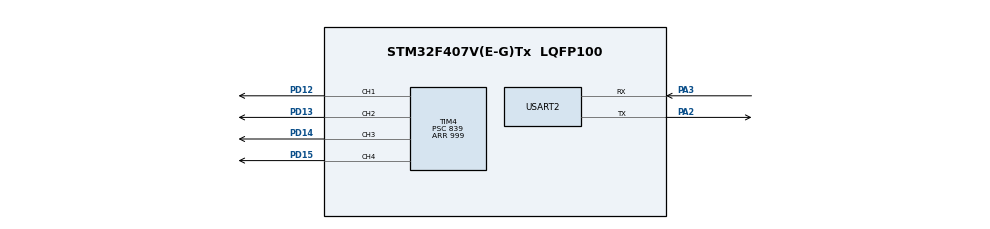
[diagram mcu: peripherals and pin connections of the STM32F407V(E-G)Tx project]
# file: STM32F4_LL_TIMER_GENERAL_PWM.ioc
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Mcu.Family=STM32F4
Mcu.Name=STM32F407V(E-G)Tx
Mcu.Package=LQFP100
NVIC.PriorityGroup=NVIC_PRIORITYGROUP_0
NVIC.TIM4_IRQn=true\:0\:0\:false\:false\:true\:true\:true\:true
PA13.Mode=Serial_Wire
PA13.Signal=SYS_JTMS-SWDIO
PA14.Mode=Serial_Wire
PA14.Signal=SYS_JTCK-SWCLK
PA2.Mode=Asynchronous
PA2.Signal=USART2_TX
PA3.Mode=Asynchronous
PA3.Signal=USART2_RX
PD12.Signal=S_TIM4_CH1
PD13.Signal=S_TIM4_CH2
PD14.Signal=S_TIM4_CH3
PD15.Signal=S_TIM4_CH4
PH0-OSC_IN.Mode=HSE-External-Oscillator
PH0-OSC_IN.Signal=RCC_OSC_IN
PH1-OSC_OUT.Mode=HSE-External-Oscillator
PH1-OSC_OUT.Signal=RCC_OSC_OUT
ProjectManager.HeapSize=0x200
ProjectManager.StackSize=0x400
ProjectManager.TargetToolchain=STM32CubeIDE
RCC.48MHZClocksFreq_Value=48000000
RCC.AHBFreq_Value=168000000
RCC.APB1CLKDivider=RCC_HCLK_DIV4
RCC.APB1Freq_Value=42000000
RCC.APB1TimFreq_Value=84000000
RCC.APB2CLKDivider=RCC_HCLK_DIV2
RCC.APB2Freq_Value=84000000
RCC.APB2TimFreq_Value=168000000
RCC.CortexFreq_Value=168000000
RCC.HCLKFreq_Value=168000000
RCC.HSE_VALUE=8000000
RCC.HSI_VALUE=16000000
RCC.LSE_VALUE=32768
RCC.PLLM=8
RCC.PLLN=336
RCC.PLLQ=7
RCC.PLLSourceVirtual=RCC_PLLSOURCE_HSE
RCC.SYSCLKFreq_VALUE=168000000
RCC.SYSCLKSource=RCC_SYSCLKSOURCE_PLLCLK
RCC.VCOOutputFreq_Value=336000000
SH.S_TIM4_CH1.0=TIM4_CH1,PWM Generation1 CH1
SH.S_TIM4_CH2.0=TIM4_CH2,PWM Generation2 CH2
SH.S_TIM4_CH3.0=TIM4_CH3,PWM Generation3 CH3
SH.S_TIM4_CH4.0=TIM4_CH4,PWM Generation4 CH4
TIM4.Channel-PWM\ Generation1\ CH1=TIM_CHANNEL_1
TIM4.Channel-PWM\ Generation2\ CH2=TIM_CHANNEL_2
TIM4.Channel-PWM\ Generation3\ CH3=TIM_CHANNEL_3
TIM4.Channel-PWM\ Generation4\ CH4=TIM_CHANNEL_4
TIM4.OCMode_PWM-PWM\ Generation1\ CH1=TIM_OCMODE_PWM1
TIM4.Period=999
TIM4.Prescaler=839
USART2.VirtualMode=VM_ASYNC
VP_TIM4_VS_ClockSourceINT.Mode=Internal
board=STM32F407G-DISC1

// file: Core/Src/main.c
/* USER CODE BEGIN Header */
/**
  ******************************************************************************
  * @file           : main.c
  * @brief          : Main program body
  ******************************************************************************
  * @attention
  *
  * Copyright (c) 2022 STMicroelectronics.
  * All rights reserved.
  *
  * This software is licensed under terms that can be found in the LICENSE file
  * in the root directory of this software component.
  * If no LICENSE file comes with this software, it is provided AS-IS.
  *
  ******************************************************************************
  */
/* USER CODE END Header */
#include "main.h"
#include "tim.h"
#include "usart.h"
#include "gpio.h"

void SystemClock_Config(void);

/* USER CODE BEGIN 0 */
uint16_t duty;
uint16_t autoReload;

int __io_putchar (int ch)
{
  while (!LL_USART_IsActiveFlag_TXE(USART2));
  LL_USART_TransmitData8(USART2, (char)ch);
  return ch;
}
/* USER CODE END 0 */

int main(void)
{

  /* MCU Configuration--------------------------------------------------------*/

  /* Reset of all peripherals, Initializes the Flash interface and the Systick. */
  LL_APB2_GRP1_EnableClock(LL_APB2_GRP1_PERIPH_SYSCFG);
  LL_APB1_GRP1_EnableClock(LL_APB1_GRP1_PERIPH_PWR);

  /* System interrupt init*/
  NVIC_SetPriorityGrouping(NVIC_PRIORITYGROUP_0);

  /* Configure the system clock */
  SystemClock_Config();

  /* Initialize all configured peripherals */
  MX_GPIO_Init();
  MX_USART2_UART_Init();
  MX_TIM4_Init();
  /* USER CODE BEGIN 2 */

  // enable TIM4 ch1, ch2, ch3, ch4
  LL_TIM_CC_EnableChannel(TIM4, LL_TIM_CHANNEL_CH1);
  LL_TIM_CC_EnableChannel(TIM4, LL_TIM_CHANNEL_CH2);
  LL_TIM_CC_EnableChannel(TIM4, LL_TIM_CHANNEL_CH3);
  LL_TIM_CC_EnableChannel(TIM4, LL_TIM_CHANNEL_CH4);

  // enable TIM4
  LL_TIM_EnableCounter(TIM4);

  // read CCRx & ARR registers
  duty = LL_TIM_OC_GetCompareCH1(TIM4);
  autoReload = LL_TIM_GetAutoReload(TIM4);

  /* USER CODE END 2 */

  /* Infinite loop */
  /* USER CODE BEGIN WHILE */
  while (1)
  {
    // increase duty(CCRx)
    while(duty < autoReload)
    {
      LL_TIM_OC_SetCompareCH1(TIM4, ++duty);
      LL_TIM_OC_SetCompareCH2(TIM4, ++duty);
      LL_TIM_OC_SetCompareCH3(TIM4, ++duty);
      LL_TIM_OC_SetCompareCH4(TIM4, ++duty);
      LL_mDelay(1);
    }

    // decrease duty(CCRx)
    while(duty > 0)
    {
      LL_TIM_OC_SetCompareCH1(TIM4, --duty);
      LL_TIM_OC_SetCompareCH2(TIM4, --duty);
      LL_TIM_OC_SetCompareCH3(TIM4, --duty);
      LL_TIM_OC_SetCompareCH4(TIM4, --duty);
      LL_mDelay(1);
    }

    /* USER CODE END WHILE */

  }
}

void SystemClock_Config(void)
{
  LL_FLASH_SetLatency(LL_FLASH_LATENCY_5);
  while(LL_FLASH_GetLatency()!= LL_FLASH_LATENCY_5)
  {
  }
  LL_PWR_SetRegulVoltageScaling(LL_PWR_REGU_VOLTAGE_SCALE1);
  LL_RCC_HSE_Enable();

   /* Wait till HSE is ready */
  while(LL_RCC_HSE_IsReady() != 1)
  {

  }
  LL_RCC_PLL_ConfigDomain_SYS(LL_RCC_PLLSOURCE_HSE, LL_RCC_PLLM_DIV_8, 336, LL_RCC_PLLP_DIV_2);
  LL_RCC_PLL_Enable();

   /* Wait till PLL is ready */
  while(LL_RCC_PLL_IsReady() != 1)
  {

  }
  LL_RCC_SetAHBPrescaler(LL_RCC_SYSCLK_DIV_1);
  LL_RCC_SetAPB1Prescaler(LL_RCC_APB1_DIV_4);
  LL_RCC_SetAPB2Prescaler(LL_RCC_APB2_DIV_2);
  LL_RCC_SetSysClkSource(LL_RCC_SYS_CLKSOURCE_PLL);

   /* Wait till System clock is ready */
  while(LL_RCC_GetSysClkSource() != LL_RCC_SYS_CLKSOURCE_STATUS_PLL)
  {

  }
  LL_Init1msTick(168000000);
  LL_SetSystemCoreClock(168000000);
}

void Error_Handler(void)
{
  __disable_irq();
  while (1)
  {
  }
}
